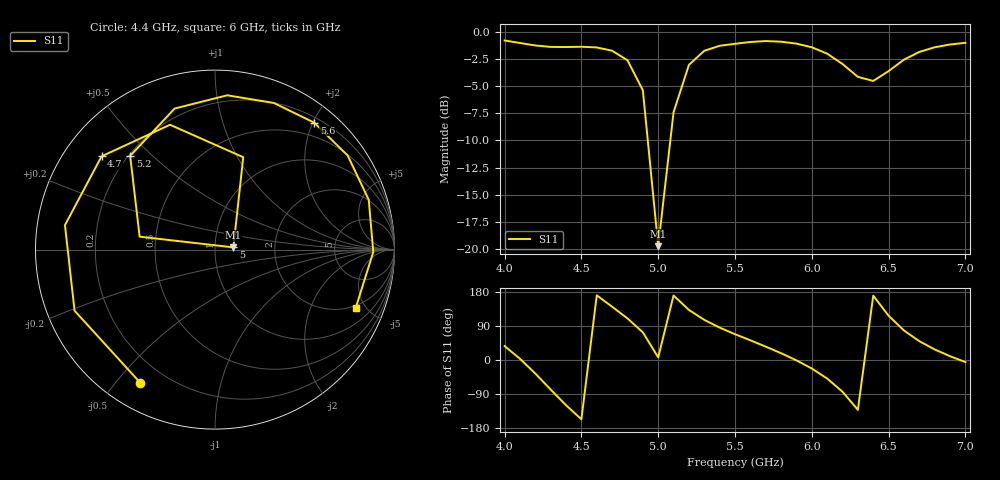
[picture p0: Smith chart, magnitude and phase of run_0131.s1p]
! Touchstone file exported from HFSS 2024.2.0
!  File:  C:/Users/wsak9/Desktop/Sim Fast/Widenad Patch/WP_AI_V1_sweep.aedt
!  Generated:  08:22:42 PM Oct 13, 2026
!  Design:  A1_model
!  Project:  WP_AI_V1_sweep
!  Setup:  Setup1
!  Solution:  Sweep
! Variables:
!  Air_gap = 2.81mm
!  Curve_Amp1 = 3.16
!  Curve_len1 = 1
!  Curve_pos = 11.555mm
!  Extra = 2.11mm
!  H_sub = 0.79mm
!  L_Patch = 19.11mm
!  L_Patch1 = 11.51mm
!  Sx = 2.76mm
!  Sy = 1.91mm
!  WS = 0.94mm
!  W_Patch = 16.69mm
!  W_Patch1 = 9.4mm
!Data is not renormalized
# GHz S MA
! Terminal data exported
! Port[1] = 1
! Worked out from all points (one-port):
!   31 points, 4 GHz to 7 GHz, reference per port
!   lowest |S11| = -19.7 dB at 5 GHz (marker M1), VSWR 1.23
!   |S11| at or under -10 dB: 4.932 GHz to 5.079 GHz (146.8 MHz wide, 2.93 % of centre)
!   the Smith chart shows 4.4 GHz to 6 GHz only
!   S11 on the Smith chart (normalised r, x): 4.4 GHz: 0.11, -0.58; 4.7 GHz: 0.11, +0.35; 5 GHz: 1.23, +0.03; 5.2 GHz: 0.21, +0.43; 5.6 GHz: 0.28, +2.02; 6 GHz: 1.85, -4.28
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4  0.9121 36.8
4.1  0.8879 3.3
4.2  0.865 -35.7
4.3  0.8519 -78.0
4.4  0.8508 -119.3
4.5  0.8532 -156.5
4.6  0.847 170.7
4.7  0.8182 140.6
4.8  0.7394 109.8
4.9  0.5383 73.0
5  0.1031 6.9
5.1  0.4261 170.3
5.2  0.7043 132.1
5.3  0.8174 106.0
5.5  0.8803 68.1
5.6  0.8976 52.0
5.8  0.9004 17.9
5.9  0.882 -0.9
6  0.8485 -22.4
6.1  0.7932 -48.9
6.2  0.7107 -83.8
6.3  0.6203 -131.6
6.4  0.594 169.9
6.5  0.6592 116.9
6.6  0.7441 78.0
6.7  0.8077 49.7
6.8  0.8486 27.9
7  0.8897 -5.3
